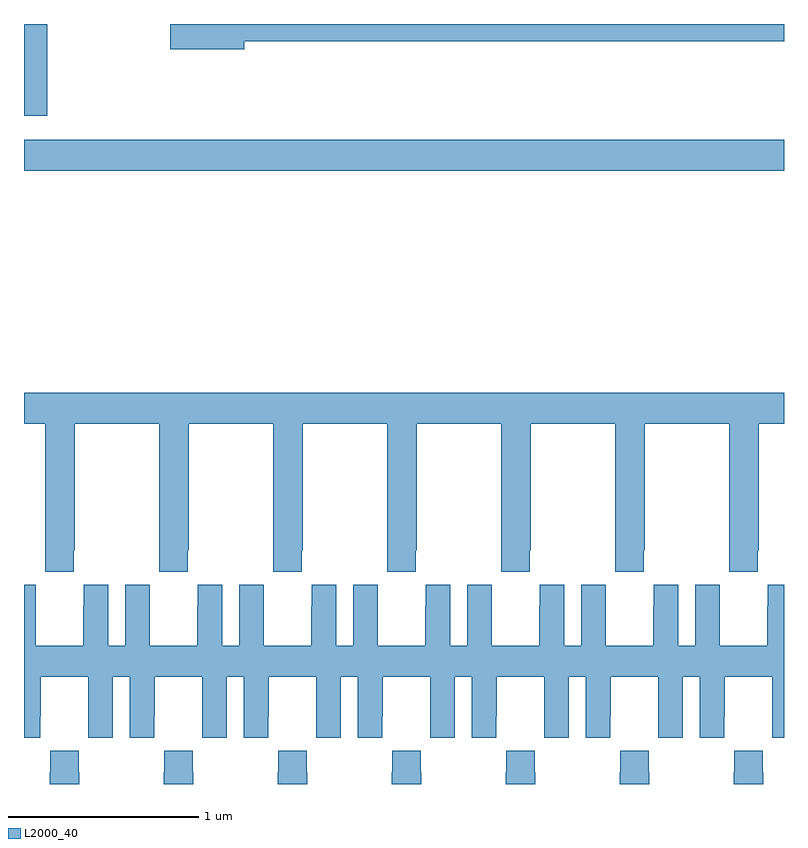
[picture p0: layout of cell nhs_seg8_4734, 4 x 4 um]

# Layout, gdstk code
import gdstk
lib = gdstk.Library(unit=1e-6, precision=1e-09)
def R(c, l, rs):  # rectangles x0, y0, x1, y1
    for r in rs: c.add(gdstk.rectangle(r[:2], r[2:], *l))
def P(c, l, *ps):  # polygons
    for p in ps: c.add(gdstk.Polygon(p, *l))
L2000_40 = (2000, 40)

nhs_seg8_4734 = lib.new_cell('nhs_seg8_4734')
R(nhs_seg8_4734, L2000_40, [(397,1155.128,401,1155.292), (397.001,1155.417,397.123,1155.9)])
P(nhs_seg8_4734, L2000_40, [(398.158,1155.808),(401,1155.808),(401,1155.9),(397.77,1155.9),(397.77,1155.766),(398.158,1155.766)],
  [(397.263,1153.129),(397.266,1153.129),(397.266,1153.796),(397.711,1153.796),(397.711,1153.129),(397.713,1153.129),(397.713,1153.017),(397.863,1153.017),(397.863,1153.129),(397.866,1153.129),(397.866,1153.796),(398.311,1153.796),(398.311,1153.129),(398.313,1153.129),(398.313,1153.017),(398.463,1153.017),(398.463,1153.129),(398.466,1153.129),(398.466,1153.796),(398.911,1153.796),(398.911,1153.129),(398.913,1153.129),(398.913,1153.017),(399.063,1153.017),(399.063,1153.129),(399.066,1153.129),(399.066,1153.796),(399.511,1153.796),(399.511,1153.129),(399.513,1153.129),(399.513,1153.017),(399.663,1153.017),(399.663,1153.129),(399.666,1153.129),(399.666,1153.796),(400.111,1153.796),(400.111,1153.129),(400.113,1153.129),(400.113,1153.017),(400.263,1153.017),(400.263,1153.129),(400.266,1153.129),(400.266,1153.796),(400.711,1153.796),(400.711,1153.129),(400.713,1153.129),(400.713,1153.017),(400.863,1153.017),(400.863,1153.129),(400.866,1153.129),(400.866,1153.796),(401,1153.796),(401,1153.96),(397,1153.96),(397,1153.796),(397.111,1153.796),(397.111,1153.129),(397.113,1153.129),(397.113,1153.017),(397.263,1153.017)],
  [(398.068,1152.464),(398.156,1152.464),(398.156,1152.144),(398.286,1152.144),(398.286,1152.256),(398.287,1152.256),(398.287,1152.464),(398.537,1152.464),(398.537,1152.256),(398.538,1152.256),(398.538,1152.144),(398.668,1152.144),(398.668,1152.464),(398.756,1152.464),(398.756,1152.144),(398.886,1152.144),(398.886,1152.256),(398.887,1152.256),(398.887,1152.464),(399.137,1152.464),(399.137,1152.256),(399.138,1152.256),(399.138,1152.144),(399.268,1152.144),(399.268,1152.464),(399.356,1152.464),(399.356,1152.144),(399.486,1152.144),(399.486,1152.256),(399.487,1152.256),(399.487,1152.464),(399.737,1152.464),(399.737,1152.256),(399.738,1152.256),(399.738,1152.144),(399.868,1152.144),(399.868,1152.464),(399.956,1152.464),(399.956,1152.144),(400.086,1152.144),(400.086,1152.256),(400.087,1152.256),(400.087,1152.464),(400.337,1152.464),(400.337,1152.256),(400.338,1152.256),(400.338,1152.144),(400.468,1152.144),(400.468,1152.464),(400.556,1152.464),(400.556,1152.144),(400.686,1152.144),(400.686,1152.256),(400.687,1152.256),(400.687,1152.464),(400.937,1152.464),(400.937,1152.256),(400.938,1152.256),(400.938,1152.144),(401,1152.144),(401,1152.949),(400.914,1152.949),(400.914,1152.836),(400.913,1152.836),(400.913,1152.628),(400.663,1152.628),(400.663,1152.836),(400.662,1152.836),(400.662,1152.949),(400.532,1152.949),(400.532,1152.628),(400.444,1152.628),(400.444,1152.949),(400.314,1152.949),(400.314,1152.836),(400.313,1152.836),(400.313,1152.628),(400.063,1152.628),(400.063,1152.836),(400.062,1152.836),(400.062,1152.949),(399.932,1152.949),(399.932,1152.628),(399.844,1152.628),(399.844,1152.949),(399.714,1152.949),(399.714,1152.836),(399.713,1152.836),(399.713,1152.628),(399.463,1152.628),(399.463,1152.836),(399.462,1152.836),(399.462,1152.949),(399.332,1152.949),(399.332,1152.628),(399.244,1152.628),(399.244,1152.949),(399.114,1152.949),(399.114,1152.836),(399.113,1152.836),(399.113,1152.628),(398.863,1152.628),(398.863,1152.836),(398.862,1152.836),(398.862,1152.949),(398.732,1152.949),(398.732,1152.628),(398.644,1152.628),(398.644,1152.949),(398.514,1152.949),(398.514,1152.836),(398.513,1152.836),(398.513,1152.628),(398.263,1152.628),(398.263,1152.836),(398.262,1152.836),(398.262,1152.949),(398.132,1152.949),(398.132,1152.628),(398.044,1152.628),(398.044,1152.949),(397.914,1152.949),(397.914,1152.836),(397.913,1152.836),(397.913,1152.628),(397.663,1152.628),(397.663,1152.836),(397.662,1152.836),(397.662,1152.949),(397.532,1152.949),(397.532,1152.628),(397.444,1152.628),(397.444,1152.949),(397.314,1152.949),(397.314,1152.836),(397.313,1152.836),(397.313,1152.628),(397.063,1152.628),(397.063,1152.836),(397.062,1152.836),(397.062,1152.949),(397,1152.949),(397,1152.144),(397.086,1152.144),(397.086,1152.256),(397.087,1152.256),(397.087,1152.464),(397.337,1152.464),(397.337,1152.256),(397.338,1152.256),(397.338,1152.144),(397.468,1152.144),(397.468,1152.464),(397.556,1152.464),(397.556,1152.144),(397.686,1152.144),(397.686,1152.256),(397.687,1152.256),(397.687,1152.464),(397.937,1152.464),(397.937,1152.256),(397.938,1152.256),(397.938,1152.144),(398.068,1152.144)],
  [(400.89,1151.963),(400.887,1151.963),(400.887,1152.076),(400.737,1152.076),(400.737,1151.963),(400.735,1151.963),(400.735,1151.9),(400.89,1151.9)],
  [(400.29,1151.963),(400.287,1151.963),(400.287,1152.076),(400.137,1152.076),(400.137,1151.963),(400.135,1151.963),(400.135,1151.9),(400.29,1151.9)],
  [(399.69,1151.963),(399.687,1151.963),(399.687,1152.076),(399.537,1152.076),(399.537,1151.963),(399.535,1151.963),(399.535,1151.9),(399.69,1151.9)],
  [(397.29,1151.963),(397.287,1151.963),(397.287,1152.076),(397.137,1152.076),(397.137,1151.963),(397.135,1151.963),(397.135,1151.9),(397.29,1151.9)],
  [(397.89,1151.963),(397.887,1151.963),(397.887,1152.076),(397.737,1152.076),(397.737,1151.963),(397.735,1151.963),(397.735,1151.9),(397.89,1151.9)],
  [(398.49,1151.963),(398.487,1151.963),(398.487,1152.076),(398.337,1152.076),(398.337,1151.963),(398.335,1151.963),(398.335,1151.9),(398.49,1151.9)],
  [(399.09,1151.963),(399.087,1151.963),(399.087,1152.076),(398.937,1152.076),(398.937,1151.963),(398.935,1151.963),(398.935,1151.9),(399.09,1151.9)])

lib.write_gds('nhs_seg8_4734.gds')
